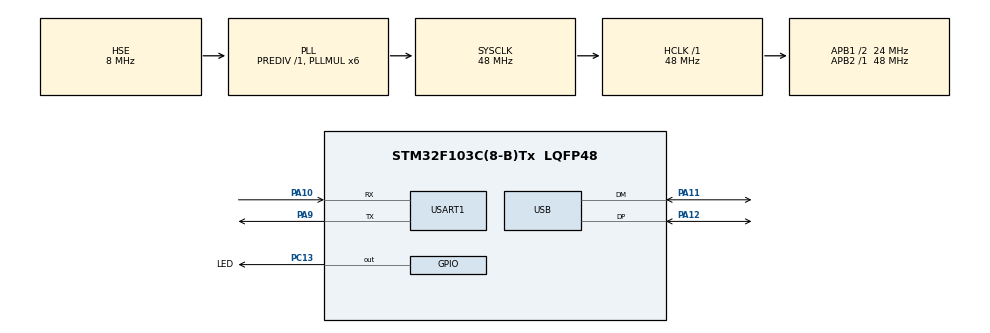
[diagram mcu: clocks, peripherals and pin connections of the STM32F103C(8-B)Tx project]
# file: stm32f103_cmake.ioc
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IWDG.Prescaler=IWDG_PRESCALER_256
Mcu.Family=STM32F1
Mcu.Name=STM32F103C(8-B)Tx
Mcu.Package=LQFP48
NVIC.PriorityGroup=NVIC_PRIORITYGROUP_4
NVIC.TIM3_IRQn=true\:1\:0\:true\:false\:true\:false\:true\:true
NVIC.TimeBase=TIM3_IRQn
NVIC.TimeBaseIP=TIM3
NVIC.USART1_IRQn=true\:6\:0\:true\:false\:true\:true\:true\:true
NVIC.USB_LP_CAN1_RX0_IRQn=true\:5\:0\:true\:false\:true\:false\:true\:true
PA10.Mode=Asynchronous
PA10.Signal=USART1_RX
PA11.Mode=Device
PA11.Signal=USB_DM
PA12.Mode=Device
PA12.Signal=USB_DP
PA13.Mode=Serial_Wire
PA13.Signal=SYS_JTMS-SWDIO
PA14.Mode=Serial_Wire
PA14.Signal=SYS_JTCK-SWCLK
PA9.Mode=Asynchronous
PA9.Signal=USART1_TX
PC13-TAMPER-RTC.GPIO_Label=LED
PC13-TAMPER-RTC.Signal=GPIO_Output
PC14-OSC32_IN.Mode=LSE-External-Oscillator
PC14-OSC32_IN.Signal=RCC_OSC32_IN
PC15-OSC32_OUT.Mode=LSE-External-Oscillator
PC15-OSC32_OUT.Signal=RCC_OSC32_OUT
PD0-OSC_IN.Mode=HSE-External-Oscillator
PD0-OSC_IN.Signal=RCC_OSC_IN
PD1-OSC_OUT.Mode=HSE-External-Oscillator
PD1-OSC_OUT.Signal=RCC_OSC_OUT
ProjectManager.HeapSize=0x0
ProjectManager.StackSize=0x400
ProjectManager.TargetToolchain=CMake
RCC.AHBFreq_Value=48000000
RCC.APB1CLKDivider=RCC_HCLK_DIV2
RCC.APB1Freq_Value=24000000
RCC.APB1TimFreq_Value=48000000
RCC.APB2Freq_Value=48000000
RCC.APB2TimFreq_Value=48000000
RCC.HCLKFreq_Value=48000000
RCC.PLLMUL=RCC_PLL_MUL6
RCC.PLLSourceVirtual=RCC_PLLSOURCE_HSE
RCC.SYSCLKFreq_VALUE=48000000
RCC.SYSCLKSource=RCC_SYSCLKSOURCE_PLLCLK
RCC.USBFreq_Value=48000000
USART1.VirtualMode=VM_ASYNC
USB_DEVICE.CLASS_NAME_FS=CDC
USB_DEVICE.USBD_DEBUG_LEVEL=2
USB_DEVICE.USBD_MAX_STR_DESC_SIZ=256
USB_DEVICE.VirtualMode=Cdc
USB_DEVICE.VirtualModeFS=Cdc_FS
VP_IWDG_VS_IWDG.Mode=IWDG_Activate
VP_SYS_VS_tim3.Mode=TIM3
VP_USB_DEVICE_VS_USB_DEVICE_CDC_FS.Mode=CDC_FS
board=custom

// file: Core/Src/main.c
/* USER CODE BEGIN Header */
/**
  ******************************************************************************
  * @file           : main.c
  * @brief          : Main program body
  ******************************************************************************
  * @attention
  *
  * Copyright (c) 2025 STMicroelectronics.
  * All rights reserved.
  *
  * This software is licensed under terms that can be found in the LICENSE file
  * in the root directory of this software component.
  * If no LICENSE file comes with this software, it is provided AS-IS.
  *
  ******************************************************************************
  */
/* USER CODE END Header */
#include "main.h"
#include "iwdg.h"
#include "usart.h"
#include "usb_device.h"
#include "gpio.h"

/* USER CODE BEGIN Includes */
#include "common.h"
#include "usbd_cdc_if.h"
#include <string.h>

// 引入FreeRTOS队列头文件
#include "FreeRTOS.h"
#include "task.h"
#include "semphr.h"
#include "queue.h"

/* USER CODE END Includes */

/* USER CODE BEGIN PV */
TaskHandle_t startTH;
TaskHandle_t systatTH;
TaskHandle_t watchdogTH;
TaskHandle_t usbcdcRxShowTH;
/* USER CODE END PV */

void SystemClock_Config(void);
/* USER CODE BEGIN PFP */

void initialise_monitor_handles();

/* USER CODE END PFP */

/* USER CODE BEGIN 0 */

/**
 * @brief  Redirect printf to UART
 * @param  ch: character to send
 * @retval character sent
 */
int __io_putchar(int ch)
{
  /* Wait until transmit complete flag is set */
  while((USART1->SR & UART_FLAG_TC) == 0);

  /* Send character */
  USART1->DR = (uint8_t)ch;

  return ch;
}

/**
 * @brief  Redirect scanf from UART (optional)
 * @retval character received
 */
int __io_getchar(void)
{
  /* Wait until receive buffer is not empty */
  while((USART1->SR & UART_FLAG_RXNE) == 0);

  /* Read character */
  return (int)(USART1->DR & 0xFF);
}

void watchdog_task(void *pvParameters)
{
    (void)pvParameters; // Suppress unused parameter warning

    while(1)
    {
        for(uint8_t i = 3; i > 0; i--)
        {
            LED_ON; vTaskDelay(100);
            LED_OFF; vTaskDelay(100);
        }

        watch_dog_check_feed();
    }
}

void vApplicationStackOverflowHook( TaskHandle_t xTask, signed char *pcTaskName )
{
    (void)xTask; // Suppress unused parameter warning
    CHECKPOINTA("task:%s stack is overflowed!", pcTaskName);
}

void systat_task(void *pvParameters)
{
    (void)pvParameters; // Suppress unused parameter warning
    size_t remainOSHeapBytes = 0;
    size_t minOSHeapBytes = 0;
    char pcWriteBuffer[300];

    uint32_t wdgEvent = watch_dog_register();
    CHECKPOINTA("systat_task start, get watch dog event id: 0x%X", wdgEvent);

    while(1)
    {
        CHECKPOINTA("\r\n\r\n");
        CHECKPOINTA("=================================================");
        CHECKPOINTA("taskName  taskState  priority  freeStack  taskNum");
        vTaskList(pcWriteBuffer);
        CHECKPOINTA("%s\r\n", pcWriteBuffer);

        //CHECKPOINTA("\r\n taskName  runningCount  usage\r\n");
        //vTaskGetRunTimeStats(pcWriteBuffer);
        //CHECKPOINTA("%s\r\n", pcWriteBuffer);

        remainOSHeapBytes = xPortGetFreeHeapSize();
        minOSHeapBytes = xPortGetMinimumEverFreeHeapSize();
        CHECKPOINTA("FreeRTOS remain heap size: %d", remainOSHeapBytes);
        CHECKPOINTA("FreeRTOS minimum ever heap size: %d", minOSHeapBytes);
        CHECKPOINTA("=================================================");
        CHECKPOINTA("\r\n\r\n");

        watch_dog_feed_event(wdgEvent);
        vTaskDelay(5000);
    }
}

void usb_cdc_rx_task(void *pvParameters)
{
    (void)pvParameters;
    usb_rx_msg_t msg;

    // 初始化USB接收队列
    USB_CDC_RxQueue_Init();

    for(;;)
    {
        if (usb_cdc_rx_queue != NULL && xQueueReceive(usb_cdc_rx_queue, &msg, portMAX_DELAY) == pdPASS) {
            if(msg.len > 0 && msg.data != NULL) {
                CHECKPOINTA("USB RX: %.*s", msg.len, msg.data);
            }
            // 处理完毕后释放缓冲区槽
            USB_CDC_RxSlot_Release(msg.slot_idx);
        }
    }
}

void start_task(void *pvParameters)
{
    xTaskCreate(watchdog_task, "wdg", 64, NULL, SYS_CTRL_PORIRITY, &watchdogTH);
    xTaskCreate(systat_task, "systat", 256, NULL, LOWEST_PORIORIT, &systatTH);
    xTaskCreate(usb_cdc_rx_task, "usbcdc_rx", 256, NULL, USER_INTRA_PORIORITY, &usbcdcRxShowTH);

    vTaskDelete(NULL);
}
/* USER CODE END 0 */

int main(void)
{

  /* MCU Configuration--------------------------------------------------------*/

  /* Reset of all peripherals, Initializes the Flash interface and the Systick. */
  HAL_Init();

  /* Configure the system clock */
  SystemClock_Config();

  /* USER CODE BEGIN SysInit */
  initialise_monitor_handles(); // 初始化监视器句柄，启用printf等调试输出功能
  /* USER CODE END SysInit */

  /* Initialize all configured peripherals */
  MX_GPIO_Init();
  MX_USART1_UART_Init();
  MX_IWDG_Init();
  MX_USB_DEVICE_Init();
  /* USER CODE BEGIN 2 */

  xTaskCreate(start_task, "start_task", 256, NULL, NORMAL_PORIORIT, &startTH);

  vTaskStartScheduler();

  /* USER CODE END 2 */

  /* Infinite loop */
  while (1)
  {

  }
}

void SystemClock_Config(void)
{
  RCC_OscInitTypeDef RCC_OscInitStruct = {0};
  RCC_ClkInitTypeDef RCC_ClkInitStruct = {0};
  RCC_PeriphCLKInitTypeDef PeriphClkInit = {0};

  /** Initializes the RCC Oscillators according to the specified parameters
  * in the RCC_OscInitTypeDef structure.
  */
  RCC_OscInitStruct.OscillatorType = RCC_OSCILLATORTYPE_LSI|RCC_OSCILLATORTYPE_HSE;
  RCC_OscInitStruct.HSEState = RCC_HSE_ON;
  RCC_OscInitStruct.HSEPredivValue = RCC_HSE_PREDIV_DIV1;
  RCC_OscInitStruct.HSIState = RCC_HSI_ON;
  RCC_OscInitStruct.LSIState = RCC_LSI_ON;
  RCC_OscInitStruct.PLL.PLLState = RCC_PLL_ON;
  RCC_OscInitStruct.PLL.PLLSource = RCC_PLLSOURCE_HSE;
  RCC_OscInitStruct.PLL.PLLMUL = RCC_PLL_MUL6;
  if (HAL_RCC_OscConfig(&RCC_OscInitStruct) != HAL_OK)
  {
    Error_Handler();
  }

  /** Initializes the CPU, AHB and APB buses clocks
  */
  RCC_ClkInitStruct.ClockType = RCC_CLOCKTYPE_HCLK|RCC_CLOCKTYPE_SYSCLK
                              |RCC_CLOCKTYPE_PCLK1|RCC_CLOCKTYPE_PCLK2;
  RCC_ClkInitStruct.SYSCLKSource = RCC_SYSCLKSOURCE_PLLCLK;
  RCC_ClkInitStruct.AHBCLKDivider = RCC_SYSCLK_DIV1;
  RCC_ClkInitStruct.APB1CLKDivider = RCC_HCLK_DIV2;
  RCC_ClkInitStruct.APB2CLKDivider = RCC_HCLK_DIV1;

  if (HAL_RCC_ClockConfig(&RCC_ClkInitStruct, FLASH_LATENCY_1) != HAL_OK)
  {
    Error_Handler();
  }
  PeriphClkInit.PeriphClockSelection = RCC_PERIPHCLK_USB;
  PeriphClkInit.UsbClockSelection = RCC_USBCLKSOURCE_PLL;
  if (HAL_RCCEx_PeriphCLKConfig(&PeriphClkInit) != HAL_OK)
  {
    Error_Handler();
  }
}

void HAL_TIM_PeriodElapsedCallback(TIM_HandleTypeDef *htim)
{
  if (htim->Instance == TIM3)
  {
    HAL_IncTick();
  }
}

void Error_Handler(void)
{
  __disable_irq();
  while (1)
  {
  }
}

#ifdef  USE_FULL_ASSERT
/**
  * @brief  Reports the name of the source file and the source line number
  *         where the assert_param error has occurred.
  * @param  file: pointer to the source file name
  * @param  line: assert_param error line source number
  * @retval None
  */
void assert_failed(uint8_t *file, uint32_t line)
{
  /* USER CODE BEGIN 6 */
  /* User can add his own implementation to report the file name and line number,
     ex: printf("Wrong parameters value: file %s on line %d\r\n", file, line) */
     ERRORPOINT("Wrong parameters value: file %s on line %d\r\n", file, line);
  /* USER CODE END 6 */
}
#endif /* USE_FULL_ASSERT */
